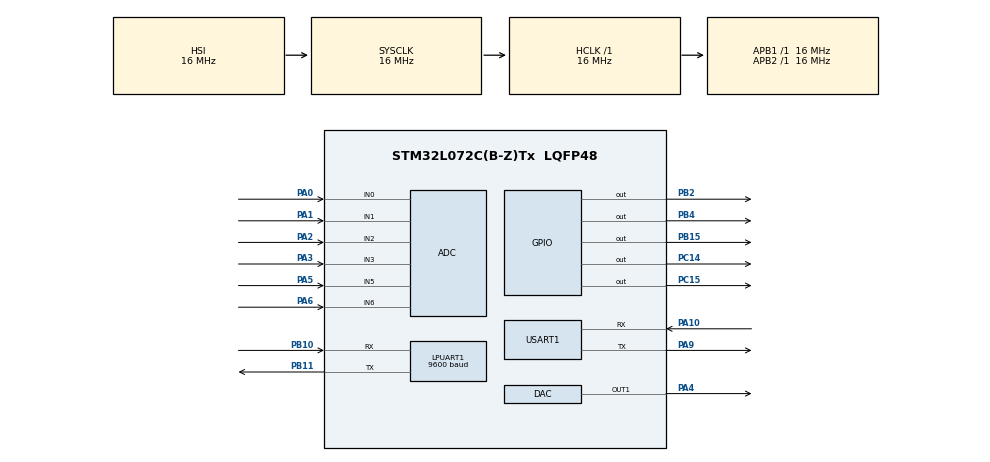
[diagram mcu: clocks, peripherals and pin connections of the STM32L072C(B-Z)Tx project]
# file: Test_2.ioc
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ADC.ContinuousConvMode=DISABLE
ADC.DMAContinuousRequests=ENABLE
Dma.ADC.0.Direction=DMA_PERIPH_TO_MEMORY
Dma.ADC.0.Instance=DMA1_Channel1
Dma.ADC.0.MemDataAlignment=DMA_MDATAALIGN_HALFWORD
Dma.ADC.0.MemInc=DMA_MINC_ENABLE
Dma.ADC.0.Mode=DMA_CIRCULAR
Dma.ADC.0.PeriphDataAlignment=DMA_PDATAALIGN_HALFWORD
Dma.ADC.0.PeriphInc=DMA_PINC_DISABLE
Dma.ADC.0.Priority=DMA_PRIORITY_LOW
Dma.LPUART1_RX.1.Direction=DMA_PERIPH_TO_MEMORY
Dma.LPUART1_RX.1.Instance=DMA1_Channel3
Dma.LPUART1_RX.1.MemDataAlignment=DMA_MDATAALIGN_BYTE
Dma.LPUART1_RX.1.MemInc=DMA_MINC_ENABLE
Dma.LPUART1_RX.1.Mode=DMA_NORMAL
Dma.LPUART1_RX.1.PeriphDataAlignment=DMA_PDATAALIGN_BYTE
Dma.LPUART1_RX.1.PeriphInc=DMA_PINC_DISABLE
Dma.LPUART1_RX.1.Priority=DMA_PRIORITY_LOW
Dma.Request0=ADC
Dma.Request1=LPUART1_RX
LPUART1.BaudRate=9600
LPUART1.WordLength=UART_WORDLENGTH_8B
Mcu.Family=STM32L0
Mcu.Name=STM32L072C(B-Z)Tx
Mcu.Package=LQFP48
NVIC.DMA1_Channel1_IRQn=true\:0\:0\:false\:false\:true\:false\:true
NVIC.DMA1_Channel2_3_IRQn=true\:0\:0\:false\:false\:true\:false\:true
NVIC.TIM7_IRQn=true\:0\:0\:false\:false\:true\:true\:true
NVIC.USART1_IRQn=true\:0\:0\:false\:false\:true\:true\:true
PA0.Mode=IN0
PA0.Signal=ADC_IN0
PA1.Mode=IN1
PA1.Signal=ADC_IN1
PA10.Mode=Asynchronous
PA10.Signal=USART1_RX
PA13.Mode=Serial_Wire
PA13.Signal=SYS_SWDIO
PA14.Mode=Serial_Wire
PA14.Signal=SYS_SWCLK
PA2.Mode=IN2
PA2.Signal=ADC_IN2
PA3.Mode=IN3
PA3.Signal=ADC_IN3
PA4.Signal=COMP_DAC1_group
PA5.Mode=IN5
PA5.Signal=ADC_IN5
PA6.Mode=IN6
PA6.Signal=ADC_IN6
PA9.Mode=Asynchronous
PA9.Signal=USART1_TX
PB10.Mode=Asynchronous
PB10.Signal=LPUART1_RX
PB11.Mode=Asynchronous
PB11.Signal=LPUART1_TX
PB15.GPIO_ModeDefaultOutputPP=GPIO_MODE_OUTPUT_PP
PB15.GPIO_PuPd=GPIO_NOPULL
PB15.GPIO_Speed=GPIO_SPEED_FREQ_LOW
PB15.PinState=GPIO_PIN_RESET
PB15.Signal=GPIO_Output
PB2.GPIO_ModeDefaultOutputPP=GPIO_MODE_OUTPUT_PP
PB2.GPIO_PuPd=GPIO_NOPULL
PB2.GPIO_Speed=GPIO_SPEED_FREQ_LOW
PB2.PinState=GPIO_PIN_RESET
PB2.Signal=GPIO_Output
PB4.GPIO_ModeDefaultOutputPP=GPIO_MODE_OUTPUT_PP
PB4.GPIO_PuPd=GPIO_NOPULL
PB4.GPIO_Speed=GPIO_SPEED_FREQ_LOW
PB4.PinState=GPIO_PIN_RESET
PB4.Signal=GPIO_Output
PC14-OSC32_IN.GPIO_ModeDefaultOutputPP=GPIO_MODE_OUTPUT_PP
PC14-OSC32_IN.GPIO_PuPd=GPIO_NOPULL
PC14-OSC32_IN.GPIO_Speed=GPIO_SPEED_FREQ_LOW
PC14-OSC32_IN.PinState=GPIO_PIN_RESET
PC14-OSC32_IN.Signal=GPIO_Output
PC15-OSC32_OUT.GPIO_ModeDefaultOutputPP=GPIO_MODE_OUTPUT_PP
PC15-OSC32_OUT.GPIO_PuPd=GPIO_NOPULL
PC15-OSC32_OUT.GPIO_Speed=GPIO_SPEED_FREQ_LOW
PC15-OSC32_OUT.PinState=GPIO_PIN_RESET
PC15-OSC32_OUT.Signal=GPIO_Output
ProjectManager.HeapSize=0x200
ProjectManager.StackSize=0x400
ProjectManager.TargetToolchain=MDK-ARM V5
RCC.AHBFreq_Value=16000000
RCC.APB1Freq_Value=16000000
RCC.APB1TimFreq_Value=16000000
RCC.APB2Freq_Value=16000000
RCC.APB2TimFreq_Value=16000000
RCC.HCLKFreq_Value=16000000
RCC.HSE_VALUE=8000000
RCC.HSI16_VALUE=16000000
RCC.HSI48_VALUE=48000000
RCC.HSI_VALUE=16000000
RCC.LSE_VALUE=32768
RCC.MSI_VALUE=2097000
RCC.SYSCLKFreq_VALUE=16000000
RCC.SYSCLKSource=RCC_SYSCLKSOURCE_HSI
RCC.VCOOutputFreq_Value=48000000
SH.COMP_DAC1_group.0=DAC_OUT1,DAC_OUT1
USART1.VirtualMode-Asynchronous=VM_ASYNC
VP_RTC_VS_RTC_Activate.Mode=RTC_Enabled
VP_RTC_VS_RTC_Calendar.Mode=RTC_Calendar
VP_TIM7_VS_ClockSourceINT.Mode=Enable_Timer
board=custom

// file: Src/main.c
/* USER CODE BEGIN Header */
/**
  ******************************************************************************
  * @file           : main.c
  * @brief          : Main program body
  ******************************************************************************
  * @attention
  *
  * <h2><center>&copy; Copyright (c) 2021 STMicroelectronics.
  * All rights reserved.</center></h2>
  *
  * This software component is licensed by ST under BSD 3-Clause license,
  * the "License"; You may not use this file except in compliance with the
  * License. You may obtain a copy of the License at:
  *                        opensource.org/licenses/BSD-3-Clause
  *
  ******************************************************************************
  */
/* USER CODE END Header */

#include "main.h"

ADC_HandleTypeDef hadc;
DMA_HandleTypeDef hdma_adc;

DAC_HandleTypeDef hdac;

UART_HandleTypeDef hlpuart1;
UART_HandleTypeDef huart1;
DMA_HandleTypeDef hdma_lpuart1_rx;

RTC_HandleTypeDef hrtc;

TIM_HandleTypeDef htim7;

/* USER CODE BEGIN PV */
RTC_TimeTypeDef sTime = {0};
RTC_DateTypeDef sDate = {0};
uint8_t esp32_rx_buffer[400];
uint8_t tx_buffer_test[] = {'A', 'T', '\r', '\n'};
uint8_t tx_buffer_echo_off[] = {'A', 'T', 'E', '0', '\r', '\n'};
uint8_t tx_buffer_list[] = {'A', 'T', '+', 'C', 'W', 'L', 'A', 'P', '\r', '\n'};
uint8_t tx_buffer_mode[] = {'A', 'T', '+', 'C', 'W', 'M', 'O', 'D', 'E', '=', '3', '\r', '\n'};
uint8_t tx_buffer_rst[] = {'A', 'T', '+', 'R', 'S', 'T', '\r', '\n'};
uint8_t screen_rx_buffer[1];
uint8_t esp32_filtered_buffer[400];
uint8_t state;
int i=0;
/* USER CODE END PV */

void SystemClock_Config(void);
static void MX_GPIO_Init(void);
static void MX_DMA_Init(void);
static void MX_DAC_Init(void);
static void MX_ADC_Init(void);
static void MX_LPUART1_UART_Init(void);
static void MX_USART1_UART_Init(void);
static void MX_TIM7_Init(void);
static void MX_RTC_Init(void);
/* USER CODE BEGIN PFP */

void update_time()
{
	HAL_RTC_GetTime(&hrtc, &sTime, RTC_FORMAT_BIN); // Get Time
	HAL_RTC_GetDate(&hrtc, &sDate, RTC_FORMAT_BIN); // Get Date

	uint8_t Time[3];
	uint8_t Date[3];

	Time[0] = sTime.Hours;
	Time[1] = sTime.Minutes;
	Time[2] = sTime.Seconds;

	Date[0] = sDate.Date;
	Date[1] = sDate.Month;
	Date[2] = sDate.Year;
}

/* USER CODE END PFP */

int main(void)
{

  /* MCU Configuration--------------------------------------------------------*/

  /* Reset of all peripherals, Initializes the Flash interface and the Systick. */
  HAL_Init();

  /* Configure the system clock */
  SystemClock_Config();

  /* Initialize all configured peripherals */
  MX_GPIO_Init();
  MX_DMA_Init();
  MX_DAC_Init();
  MX_ADC_Init();
  MX_LPUART1_UART_Init();
  MX_USART1_UART_Init();
  MX_TIM7_Init();
  MX_RTC_Init();
  /* USER CODE BEGIN 2 */

	HAL_UART_Receive_DMA(&huart1, esp32_rx_buffer, 400);
	HAL_UART_Receive_DMA(&hlpuart1, screen_rx_buffer, 1);
  /* USER CODE END 2 */

  /* Infinite loop */
  while (1)
  {
		while (1)
  {
    /* USER CODE END WHILE */
		state = screen_rx_buffer[0];
		switch(state)
		{
			case 'C':
				HAL_UART_Transmit(&huart1, tx_buffer_test, sizeof(tx_buffer_test), 100);
				HAL_UART_Receive_DMA(&huart1, esp32_rx_buffer, 400);
				break;
			case 'S':
				HAL_UART_Transmit(&huart1, tx_buffer_list, sizeof(tx_buffer_list), 100);
				HAL_UART_Receive_DMA(&huart1, esp32_rx_buffer, 400);
				break;
			case '1':
				HAL_GPIO_WritePin(examLed_GPIO_Port, examLed_Pin, GPIO_PIN_SET);
				break;
			case '0':
				HAL_GPIO_WritePin(examLed_GPIO_Port, examLed_Pin, GPIO_PIN_RESET);
				break;
			case '3':
				HAL_GPIO_WritePin(focusLed_GPIO_Port, focusLed_Pin, GPIO_PIN_SET);
				break;
			case '2':
				HAL_GPIO_WritePin(focusLed_GPIO_Port, focusLed_Pin, GPIO_PIN_RESET);
				break;
			case '5':
				HAL_GPIO_WritePin(panelEnable_GPIO_Port, panelEnable_Pin, GPIO_PIN_SET);
				break;
			case '4':
				HAL_GPIO_WritePin(panelEnable_GPIO_Port, panelEnable_Pin, GPIO_PIN_RESET);
				break;
		}
		HAL_UART_Receive_DMA(&hlpuart1, screen_rx_buffer, 1);
		screen_rx_buffer[0]=0;
		HAL_Delay(500);
		//memset(esp32_rx_buffer, 's', 400);
    /* USER CODE BEGIN 3 */
  }

    /* USER CODE BEGIN 3 */
  }
  /* USER CODE END 3 */
}

void SystemClock_Config(void)
{
  RCC_OscInitTypeDef RCC_OscInitStruct = {0};
  RCC_ClkInitTypeDef RCC_ClkInitStruct = {0};
  RCC_PeriphCLKInitTypeDef PeriphClkInit = {0};

  /** Configure the main internal regulator output voltage
  */
  __HAL_PWR_VOLTAGESCALING_CONFIG(PWR_REGULATOR_VOLTAGE_SCALE1);
  /** Initializes the CPU, AHB and APB busses clocks
  */
  RCC_OscInitStruct.OscillatorType = RCC_OSCILLATORTYPE_HSI|RCC_OSCILLATORTYPE_LSI;
  RCC_OscInitStruct.HSIState = RCC_HSI_ON;
  RCC_OscInitStruct.HSICalibrationValue = RCC_HSICALIBRATION_DEFAULT;
  RCC_OscInitStruct.LSIState = RCC_LSI_ON;
  RCC_OscInitStruct.PLL.PLLState = RCC_PLL_NONE;
  if (HAL_RCC_OscConfig(&RCC_OscInitStruct) != HAL_OK)
  {
    Error_Handler();
  }
  /** Initializes the CPU, AHB and APB busses clocks
  */
  RCC_ClkInitStruct.ClockType = RCC_CLOCKTYPE_HCLK|RCC_CLOCKTYPE_SYSCLK
                              |RCC_CLOCKTYPE_PCLK1|RCC_CLOCKTYPE_PCLK2;
  RCC_ClkInitStruct.SYSCLKSource = RCC_SYSCLKSOURCE_HSI;
  RCC_ClkInitStruct.AHBCLKDivider = RCC_SYSCLK_DIV1;
  RCC_ClkInitStruct.APB1CLKDivider = RCC_HCLK_DIV1;
  RCC_ClkInitStruct.APB2CLKDivider = RCC_HCLK_DIV1;

  if (HAL_RCC_ClockConfig(&RCC_ClkInitStruct, FLASH_LATENCY_0) != HAL_OK)
  {
    Error_Handler();
  }
  PeriphClkInit.PeriphClockSelection = RCC_PERIPHCLK_USART1|RCC_PERIPHCLK_LPUART1
                              |RCC_PERIPHCLK_RTC;
  PeriphClkInit.Usart1ClockSelection = RCC_USART1CLKSOURCE_PCLK2;
  PeriphClkInit.Lpuart1ClockSelection = RCC_LPUART1CLKSOURCE_PCLK1;
  PeriphClkInit.RTCClockSelection = RCC_RTCCLKSOURCE_LSI;
  if (HAL_RCCEx_PeriphCLKConfig(&PeriphClkInit) != HAL_OK)
  {
    Error_Handler();
  }
}

static void MX_ADC_Init(void)
{

  ADC_ChannelConfTypeDef sConfig = {0};

  /** Configure the global features of the ADC (Clock, Resolution, Data Alignment and number of conversion)
  */
  hadc.Instance = ADC1;
  hadc.Init.OversamplingMode = DISABLE;
  hadc.Init.ClockPrescaler = ADC_CLOCK_SYNC_PCLK_DIV1;
  hadc.Init.Resolution = ADC_RESOLUTION_12B;
  hadc.Init.SamplingTime = ADC_SAMPLETIME_1CYCLE_5;
  hadc.Init.ScanConvMode = ADC_SCAN_DIRECTION_FORWARD;
  hadc.Init.DataAlign = ADC_DATAALIGN_RIGHT;
  hadc.Init.ContinuousConvMode = DISABLE;
  hadc.Init.DiscontinuousConvMode = DISABLE;
  hadc.Init.ExternalTrigConvEdge = ADC_EXTERNALTRIGCONVEDGE_NONE;
  hadc.Init.ExternalTrigConv = ADC_SOFTWARE_START;
  hadc.Init.DMAContinuousRequests = ENABLE;
  hadc.Init.EOCSelection = ADC_EOC_SINGLE_CONV;
  hadc.Init.Overrun = ADC_OVR_DATA_PRESERVED;
  hadc.Init.LowPowerAutoWait = DISABLE;
  hadc.Init.LowPowerFrequencyMode = DISABLE;
  hadc.Init.LowPowerAutoPowerOff = DISABLE;
  if (HAL_ADC_Init(&hadc) != HAL_OK)
  {
    Error_Handler();
  }
  /** Configure for the selected ADC regular channel to be converted.
  */
  sConfig.Channel = ADC_CHANNEL_0;
  sConfig.Rank = ADC_RANK_CHANNEL_NUMBER;
  if (HAL_ADC_ConfigChannel(&hadc, &sConfig) != HAL_OK)
  {
    Error_Handler();
  }
  /** Configure for the selected ADC regular channel to be converted.
  */
  sConfig.Channel = ADC_CHANNEL_1;
  if (HAL_ADC_ConfigChannel(&hadc, &sConfig) != HAL_OK)
  {
    Error_Handler();
  }
  /** Configure for the selected ADC regular channel to be converted.
  */
  sConfig.Channel = ADC_CHANNEL_2;
  if (HAL_ADC_ConfigChannel(&hadc, &sConfig) != HAL_OK)
  {
    Error_Handler();
  }
  /** Configure for the selected ADC regular channel to be converted.
  */
  sConfig.Channel = ADC_CHANNEL_3;
  if (HAL_ADC_ConfigChannel(&hadc, &sConfig) != HAL_OK)
  {
    Error_Handler();
  }
  /** Configure for the selected ADC regular channel to be converted.
  */
  sConfig.Channel = ADC_CHANNEL_5;
  if (HAL_ADC_ConfigChannel(&hadc, &sConfig) != HAL_OK)
  {
    Error_Handler();
  }
  /** Configure for the selected ADC regular channel to be converted.
  */
  sConfig.Channel = ADC_CHANNEL_6;
  if (HAL_ADC_ConfigChannel(&hadc, &sConfig) != HAL_OK)
  {
    Error_Handler();
  }

}

static void MX_DAC_Init(void)
{

  DAC_ChannelConfTypeDef sConfig = {0};

  /** DAC Initialization
  */
  hdac.Instance = DAC;
  if (HAL_DAC_Init(&hdac) != HAL_OK)
  {
    Error_Handler();
  }
  /** DAC channel OUT1 config
  */
  sConfig.DAC_Trigger = DAC_TRIGGER_NONE;
  sConfig.DAC_OutputBuffer = DAC_OUTPUTBUFFER_ENABLE;
  if (HAL_DAC_ConfigChannel(&hdac, &sConfig, DAC_CHANNEL_1) != HAL_OK)
  {
    Error_Handler();
  }

}

static void MX_LPUART1_UART_Init(void)
{

  hlpuart1.Instance = LPUART1;
  hlpuart1.Init.BaudRate = 9600;
  hlpuart1.Init.WordLength = UART_WORDLENGTH_8B;
  hlpuart1.Init.StopBits = UART_STOPBITS_1;
  hlpuart1.Init.Parity = UART_PARITY_NONE;
  hlpuart1.Init.Mode = UART_MODE_TX_RX;
  hlpuart1.Init.HwFlowCtl = UART_HWCONTROL_NONE;
  hlpuart1.Init.OneBitSampling = UART_ONE_BIT_SAMPLE_DISABLE;
  hlpuart1.AdvancedInit.AdvFeatureInit = UART_ADVFEATURE_NO_INIT;
  if (HAL_UART_Init(&hlpuart1) != HAL_OK)
  {
    Error_Handler();
  }

}

static void MX_USART1_UART_Init(void)
{

  huart1.Instance = USART1;
  huart1.Init.BaudRate = 115200;
  huart1.Init.WordLength = UART_WORDLENGTH_8B;
  huart1.Init.StopBits = UART_STOPBITS_1;
  huart1.Init.Parity = UART_PARITY_NONE;
  huart1.Init.Mode = UART_MODE_TX_RX;
  huart1.Init.HwFlowCtl = UART_HWCONTROL_NONE;
  huart1.Init.OverSampling = UART_OVERSAMPLING_16;
  huart1.Init.OneBitSampling = UART_ONE_BIT_SAMPLE_DISABLE;
  huart1.AdvancedInit.AdvFeatureInit = UART_ADVFEATURE_NO_INIT;
  if (HAL_UART_Init(&huart1) != HAL_OK)
  {
    Error_Handler();
  }

}

static void MX_RTC_Init(void)
{

  RTC_TimeTypeDef sTime = {0};
  RTC_DateTypeDef sDate = {0};

  /** Initialize RTC Only
  */
  hrtc.Instance = RTC;
  hrtc.Init.HourFormat = RTC_HOURFORMAT_24;
  hrtc.Init.AsynchPrediv = 127;
  hrtc.Init.SynchPrediv = 255;
  hrtc.Init.OutPut = RTC_OUTPUT_DISABLE;
  hrtc.Init.OutPutRemap = RTC_OUTPUT_REMAP_NONE;
  hrtc.Init.OutPutPolarity = RTC_OUTPUT_POLARITY_HIGH;
  hrtc.Init.OutPutType = RTC_OUTPUT_TYPE_OPENDRAIN;
  if (HAL_RTC_Init(&hrtc) != HAL_OK)
  {
    Error_Handler();
  }

  /** Initialize RTC and set the Time and Date
  */
  sTime.Hours = 0x0;
  sTime.Minutes = 0x0;
  sTime.Seconds = 0x0;
  sTime.DayLightSaving = RTC_DAYLIGHTSAVING_NONE;
  sTime.StoreOperation = RTC_STOREOPERATION_RESET;
  if (HAL_RTC_SetTime(&hrtc, &sTime, RTC_FORMAT_BCD) != HAL_OK)
  {
    Error_Handler();
  }
  sDate.WeekDay = RTC_WEEKDAY_MONDAY;
  sDate.Month = RTC_MONTH_JANUARY;
  sDate.Date = 0x1;
  sDate.Year = 0x0;

  if (HAL_RTC_SetDate(&hrtc, &sDate, RTC_FORMAT_BCD) != HAL_OK)
  {
    Error_Handler();
  }

}

static void MX_TIM7_Init(void)
{

  TIM_MasterConfigTypeDef sMasterConfig = {0};

  htim7.Instance = TIM7;
  htim7.Init.Prescaler = 0;
  htim7.Init.CounterMode = TIM_COUNTERMODE_UP;
  htim7.Init.Period = 0;
  htim7.Init.AutoReloadPreload = TIM_AUTORELOAD_PRELOAD_DISABLE;
  if (HAL_TIM_Base_Init(&htim7) != HAL_OK)
  {
    Error_Handler();
  }
  sMasterConfig.MasterOutputTrigger = TIM_TRGO_RESET;
  sMasterConfig.MasterSlaveMode = TIM_MASTERSLAVEMODE_DISABLE;
  if (HAL_TIMEx_MasterConfigSynchronization(&htim7, &sMasterConfig) != HAL_OK)
  {
    Error_Handler();
  }

}

static void MX_DMA_Init(void)
{
  /* DMA controller clock enable */
  __HAL_RCC_DMA1_CLK_ENABLE();

  /* DMA interrupt init */
  /* DMA1_Channel1_IRQn interrupt configuration */
  HAL_NVIC_SetPriority(DMA1_Channel1_IRQn, 0, 0);
  HAL_NVIC_EnableIRQ(DMA1_Channel1_IRQn);
  /* DMA1_Channel2_3_IRQn interrupt configuration */
  HAL_NVIC_SetPriority(DMA1_Channel2_3_IRQn, 0, 0);
  HAL_NVIC_EnableIRQ(DMA1_Channel2_3_IRQn);

}

static void MX_GPIO_Init(void)
{
  GPIO_InitTypeDef GPIO_InitStruct = {0};

  /* GPIO Ports Clock Enable */
  __HAL_RCC_GPIOC_CLK_ENABLE();
  __HAL_RCC_GPIOA_CLK_ENABLE();
  __HAL_RCC_GPIOB_CLK_ENABLE();

  /*Configure GPIO pin Output Level */
  HAL_GPIO_WritePin(GPIOC, GPIO_PIN_14|GPIO_PIN_15, GPIO_PIN_RESET);

  /*Configure GPIO pin Output Level */
  HAL_GPIO_WritePin(GPIOB, GPIO_PIN_2|GPIO_PIN_15|GPIO_PIN_4, GPIO_PIN_RESET);

  /*Configure GPIO pins : PC14 PC15 */
  GPIO_InitStruct.Pin = GPIO_PIN_14|GPIO_PIN_15;
  GPIO_InitStruct.Mode = GPIO_MODE_OUTPUT_PP;
  GPIO_InitStruct.Pull = GPIO_NOPULL;
  GPIO_InitStruct.Speed = GPIO_SPEED_FREQ_LOW;
  HAL_GPIO_Init(GPIOC, &GPIO_InitStruct);

  /*Configure GPIO pins : PB2 PB15 PB4 */
  GPIO_InitStruct.Pin = GPIO_PIN_2|GPIO_PIN_15|GPIO_PIN_4;
  GPIO_InitStruct.Mode = GPIO_MODE_OUTPUT_PP;
  GPIO_InitStruct.Pull = GPIO_NOPULL;
  GPIO_InitStruct.Speed = GPIO_SPEED_FREQ_LOW;
  HAL_GPIO_Init(GPIOB, &GPIO_InitStruct);

}

/* USER CODE BEGIN 4 */
/*void HAL_UART_RxCpltCallback(UART_HandleTypeDef *huart)
{
	HAL_UART_Receive_DMA(&huart1, esp32_rx_buffer, 400);
}*/

void HAL_UART_RxCpltCallback(UART_HandleTypeDef *huart)
{
	HAL_UART_Receive_DMA(&huart1, esp32_rx_buffer, 400);
	HAL_GPIO_TogglePin(indicatorLed_GPIO_Port, indicatorLed_Pin);
}

/* USER CODE END 4 */

void Error_Handler(void)
{
}

/************************ (C) COPYRIGHT STMicroelectronics *****END OF FILE****/
